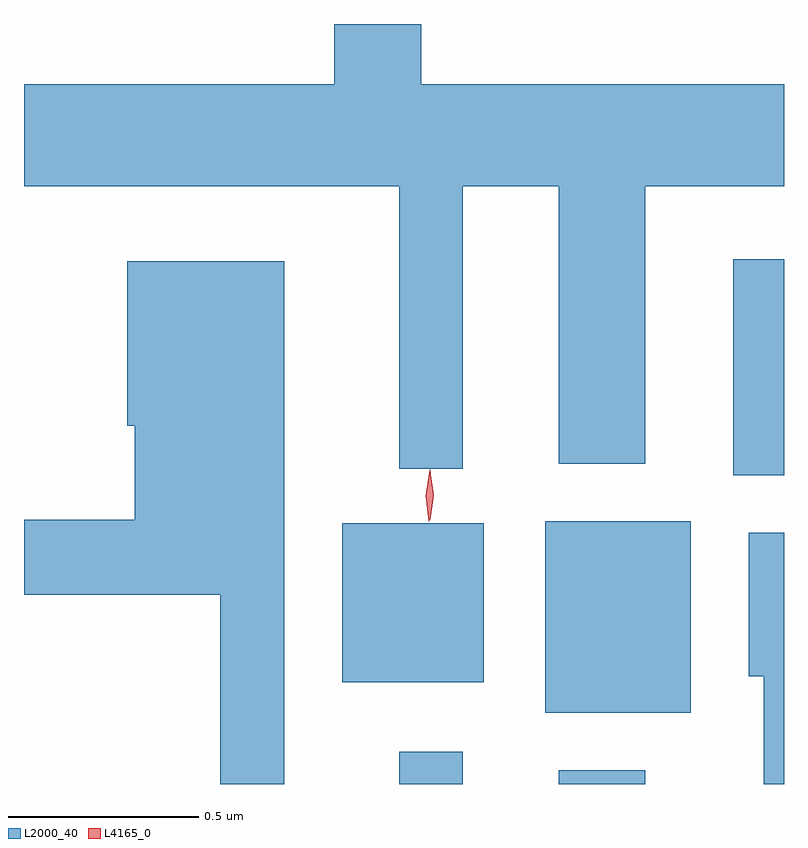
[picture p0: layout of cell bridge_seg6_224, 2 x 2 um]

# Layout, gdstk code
import gdstk
lib = gdstk.Library(unit=1e-6, precision=1e-09)
def R(c, l, rs):  # rectangles x0, y0, x1, y1
    for r in rs: c.add(gdstk.rectangle(r[:2], r[2:], *l))
def P(c, l, *ps):  # polygons
    for p in ps: c.add(gdstk.Polygon(p, *l))
L2000_40 = (2000, 40)
L4165_0 = (4165, 0)

bridge_seg6_224 = lib.new_cell('bridge_seg6_224')
R(bridge_seg6_224, L2000_40, [(1105.491,1548.463,1105.659,1548.548), (1105.911,1548.463,1106.139,1548.499), (1105.876,1548.651,1106.259,1549.154), (1105.341,1548.731,1105.714,1549.149), (1106.371,1549.276,1106.504,1549.844)])
P(bridge_seg6_224, L2000_40, [(1105.659,1550.036),(1105.911,1550.036),(1105.911,1549.306),(1106.139,1549.306),(1106.139,1550.036),(1106.504,1550.036),(1106.504,1550.304),(1105.549,1550.304),(1105.549,1550.463),(1105.321,1550.463),(1105.321,1550.304),(1104.504,1550.304),(1104.504,1550.036),(1105.491,1550.036),(1105.491,1549.293),(1105.659,1549.293)],
  [(1105.189,1549.839),(1104.776,1549.839),(1104.776,1549.406),(1104.796,1549.406),(1104.796,1549.159),(1104.504,1549.159),(1104.504,1548.961),(1105.021,1548.961),(1105.021,1548.463),(1105.189,1548.463)],
  [(1106.504,1549.124),(1106.411,1549.124),(1106.411,1548.746),(1106.451,1548.746),(1106.451,1548.463),(1106.504,1548.463)])
P(bridge_seg6_224, L4165_0, [(1105.572,1549.158),(1105.572,1549.159),(1105.562,1549.223),(1105.572,1549.286),(1105.572,1549.287),(1105.573,1549.286),(1105.582,1549.223),(1105.573,1549.159)],
  [(1105.569,1549.154),(1105.561,1549.222),(1105.572,1549.29),(1105.572,1549.29),(1105.573,1549.29),(1105.581,1549.222),(1105.57,1549.154),(1105.57,1549.154)])

lib.write_gds('bridge_seg6_224.gds')
